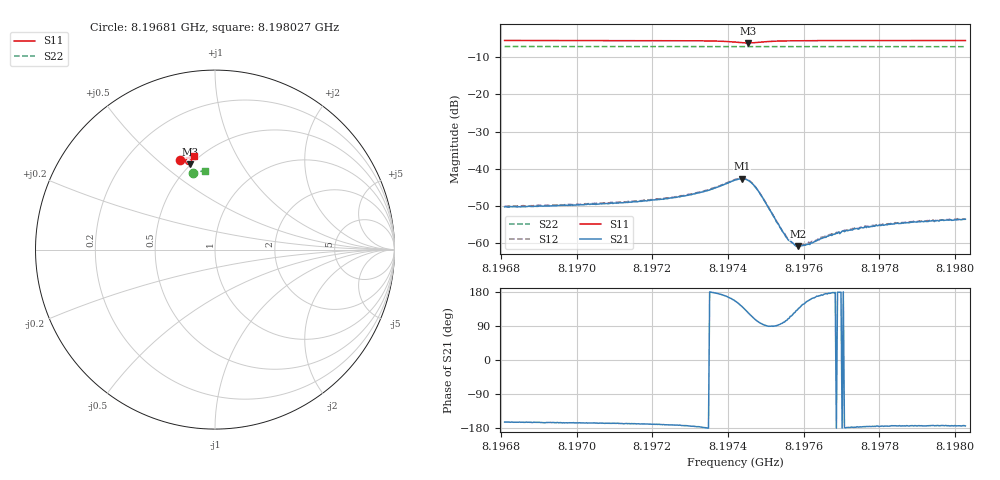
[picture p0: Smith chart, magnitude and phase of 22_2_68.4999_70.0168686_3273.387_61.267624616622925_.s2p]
#  HZ  S  RI  R  50.00
! Rohde & Schwarz Vector Network Analyzer
! Rohde-Schwarz,ZNB20-2Port,1311601062101988,3.16
! Created: UTC 3/20/2024, 4:49:34 PM
! freq[Hz]  re:S11  im:S11  re:S21  im:S21  re:S12  im:S12  re:S22  im:S22
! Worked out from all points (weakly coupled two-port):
!   401 points, 8.19681 GHz to 8.198027 GHz, reference 50 ohm
!   highest |S21| = -42.75 dB at 8.197437 GHz (marker M1); lowest = -61.0 dB at 8.197586 GHz (marker M2)
!   lowest |S11| = -6.1 dB at 8.197452 GHz (marker M3), VSWR 2.97, Z = 24.7 + j31.1 ohm
!   |S11| at or under -10 dB: nowhere
!   |S22| runs from -7.1 to -7.0 dB; largest |S21 - S12| = 0.00042
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8.1968099e9  -0.1929 0.5004  -0.00291 -0.000852  -0.00299 -0.000742  -0.1251 0.4263
8.1970138e9  -0.178 0.5056  -0.00316 -0.000783  -0.00324 -0.00068  -0.1138 0.4292
8.1971386e9  -0.1678 0.5083  -0.00342 -0.000745  -0.00354 -0.000596  -0.1069 0.4306
8.1972177e9  -0.1605 0.5098  -0.00375 -0.000693  -0.00385 -0.000496  -0.1026 0.4316
8.1972847e9  -0.153 0.5105  -0.00423 -0.000512  -0.00433 -0.000333  -0.099 0.4323
8.1973273e9  -0.147 0.51  -0.00476 -0.000262  -0.00486 -7.63e-05  -0.0965 0.4327
8.1974185e9  -0.1299 0.4931  -0.00637 0.00283  -0.00636 0.0032  -0.0911 0.4331
8.1974368e9  -0.1327 0.4826  -0.00569 0.00455  -0.00558 0.00491  -0.0904 0.433
8.197452e9  -0.141 0.4759  -0.00412 0.00562  -0.00392 0.00589  -0.0897 0.4331
8.1974672e9  -0.1523 0.4757  -0.00219 0.00564  -0.00192 0.00578  -0.0893 0.4332
8.1974825e9  -0.1602 0.4815  -0.000756 0.00473  -0.000573 0.00479  -0.0886 0.4335
8.1975524e9  -0.1593 0.5046  -0.00028 0.00118  -0.000246 0.00122  -0.0848 0.4348
8.1975737e9  -0.1565 0.5075  -0.00053 0.000798  -0.000514 0.000844  -0.0835 0.435
8.1975859e9  -0.1548 0.5089  -0.00064 0.000626  -0.000642 0.000651  -0.0826 0.4353
8.1976011e9  -0.1531 0.5103  -0.000785 0.000493  -0.000774 0.000512  -0.0819 0.4354
8.1976224e9  -0.1506 0.5117  -0.000941 0.000294  -0.000981 0.000351  -0.0807 0.4354
8.1976498e9  -0.1476 0.5132  -0.00113 0.000183  -0.00117 0.000225  -0.0792 0.4358
8.1977076e9  -0.1419 0.5155  -0.0014 -4.36e-05  -0.00147 1.58e-05  -0.076 0.4363
8.1977594e9  -0.1375 0.5172  -0.00159 -0.000117  -0.00162 -6.25e-05  -0.0731 0.4366
8.1978263e9  -0.1319 0.5189  -0.00175 -0.000161  -0.00179 -0.000122  -0.0694 0.4371
8.1979359e9  -0.1234 0.521  -0.00194 -0.000241  -0.002 -0.000126  -0.0633 0.4379
8.1980272e9  -0.1164 0.5225  -0.00205 -0.000217  -0.0021 -0.000166  -0.058 0.4385
